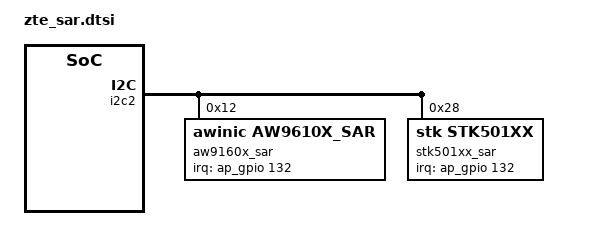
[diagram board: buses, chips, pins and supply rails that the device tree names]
/* add zte sar start */
&i2c2 {
	status = "okay";
	aw9160x_sar@12 {
		compatible = "awinic,aw9610x_sar";
		reg = <0x12>;
		sar-num = < 0 >;
		irq-gpio = <&ap_gpio 132 0>;
		chip_name = "AW96103";
		channel_use_flag = <0x03>;
		status = "okay" ;
	};
	
	stk501xx_sar@28 {
		compatible = "stk,stk501xx";
		reg = <0x28>;

		stk501xx,irq-gpio = <&ap_gpio 132 0>;
		stk501xx,phase_use_flag = <0x03>;
		chip_name = "STK50153";
		status = "okay" ;
	};
};

/* add zte sar end */
